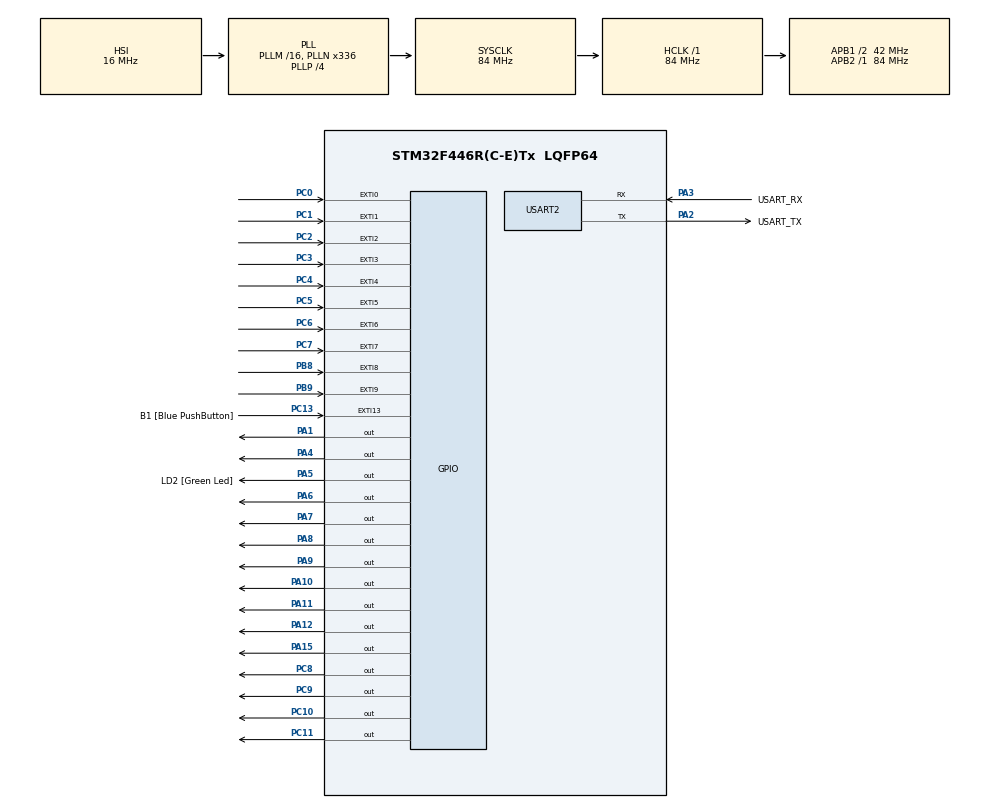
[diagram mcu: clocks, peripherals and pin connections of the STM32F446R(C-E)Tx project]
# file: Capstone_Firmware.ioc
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Mcu.Family=STM32F4
Mcu.Name=STM32F446R(C-E)Tx
Mcu.Package=LQFP64
NVIC.EXTI0_IRQn=true\:0\:0\:false\:false\:true\:true\:true
NVIC.EXTI1_IRQn=true\:0\:0\:false\:false\:true\:true\:true
NVIC.EXTI2_IRQn=true\:0\:0\:false\:false\:true\:true\:true
NVIC.EXTI3_IRQn=true\:0\:0\:false\:false\:true\:true\:true
NVIC.EXTI4_IRQn=true\:0\:0\:false\:false\:true\:true\:true
NVIC.EXTI9_5_IRQn=true\:0\:0\:false\:false\:true\:true\:true
NVIC.PriorityGroup=NVIC_PRIORITYGROUP_0
NVIC.USART2_IRQn=true\:0\:0\:false\:false\:true\:true\:true
PA1.Signal=GPIO_Output
PA10.Signal=GPIO_Output
PA11.Signal=GPIO_Output
PA12.Signal=GPIO_Output
PA13.GPIO_Label=TMS
PA13.Mode=Serial_Wire
PA13.Signal=SYS_JTMS-SWDIO
PA14.GPIO_Label=TCK
PA14.Mode=Serial_Wire
PA14.Signal=SYS_JTCK-SWCLK
PA15.Signal=GPIO_Output
PA2.GPIO_Label=USART_TX
PA2.Mode=Asynchronous
PA2.Signal=USART2_TX
PA3.GPIO_Label=USART_RX
PA3.Mode=Asynchronous
PA3.Signal=USART2_RX
PA4.Signal=GPIO_Output
PA5.GPIO_Label=LD2 [Green Led]
PA5.Signal=GPIO_Output
PA6.Signal=GPIO_Output
PA7.Signal=GPIO_Output
PA8.Signal=GPIO_Output
PA9.Signal=GPIO_Output
PB3.GPIO_Label=SWO
PB3.Signal=SYS_JTDO-SWO
PB8.GPIO_ModeDefaultEXTI=GPIO_MODE_IT_RISING_FALLING
PB8.GPIO_PuPd=GPIO_PULLUP
PB8.Signal=GPXTI8
PB9.GPIO_ModeDefaultEXTI=GPIO_MODE_IT_RISING_FALLING
PB9.GPIO_PuPd=GPIO_PULLUP
PB9.Signal=GPXTI9
PC0.GPIO_ModeDefaultEXTI=GPIO_MODE_IT_RISING_FALLING
PC0.GPIO_PuPd=GPIO_PULLUP
PC0.Signal=GPXTI0
PC1.GPIO_ModeDefaultEXTI=GPIO_MODE_IT_RISING_FALLING
PC1.GPIO_PuPd=GPIO_PULLUP
PC1.Signal=GPXTI1
PC10.GPIO_ModeDefaultOutputPP=GPIO_MODE_OUTPUT_PP
PC10.GPIO_PuPd=GPIO_NOPULL
PC10.Signal=GPIO_Output
PC11.Signal=GPIO_Output
PC13.GPIO_Label=B1 [Blue PushButton]
PC13.GPIO_ModeDefaultEXTI=GPIO_MODE_IT_FALLING
PC13.Signal=GPXTI13
PC14-OSC32_IN.Mode=LSE-External-Oscillator
PC14-OSC32_IN.Signal=RCC_OSC32_IN
PC15-OSC32_OUT.Mode=LSE-External-Oscillator
PC15-OSC32_OUT.Signal=RCC_OSC32_OUT
PC2.GPIO_ModeDefaultEXTI=GPIO_MODE_IT_RISING_FALLING
PC2.GPIO_PuPd=GPIO_PULLUP
PC2.Signal=GPXTI2
PC3.GPIO_ModeDefaultEXTI=GPIO_MODE_IT_RISING_FALLING
PC3.GPIO_PuPd=GPIO_PULLUP
PC3.Signal=GPXTI3
PC4.GPIO_ModeDefaultEXTI=GPIO_MODE_IT_RISING_FALLING
PC4.GPIO_PuPd=GPIO_PULLUP
PC4.Signal=GPXTI4
PC5.GPIO_ModeDefaultEXTI=GPIO_MODE_IT_RISING_FALLING
PC5.GPIO_PuPd=GPIO_PULLUP
PC5.Signal=GPXTI5
PC6.GPIO_ModeDefaultEXTI=GPIO_MODE_IT_RISING_FALLING
PC6.GPIO_PuPd=GPIO_PULLUP
PC6.Signal=GPXTI6
PC7.GPIO_ModeDefaultEXTI=GPIO_MODE_IT_RISING_FALLING
PC7.GPIO_PuPd=GPIO_PULLUP
PC7.Signal=GPXTI7
PC8.Signal=GPIO_Output
PC9.Signal=GPIO_Output
PH0-OSC_IN.Mode=HSE-External-Oscillator
PH0-OSC_IN.Signal=RCC_OSC_IN
PH1-OSC_OUT.Mode=HSE-External-Oscillator
PH1-OSC_OUT.Signal=RCC_OSC_OUT
ProjectManager.HeapSize=0x200
ProjectManager.StackSize=0x400
ProjectManager.TargetToolchain=STM32CubeIDE
RCC.48MHZClocksFreq_Value=84000000
RCC.AHBFreq_Value=84000000
RCC.APB1CLKDivider=RCC_HCLK_DIV2
RCC.APB1Freq_Value=42000000
RCC.APB1TimFreq_Value=84000000
RCC.APB2Freq_Value=84000000
RCC.APB2TimFreq_Value=84000000
RCC.CortexFreq_Value=84000000
RCC.FLatency-AdvancedSettings=FLASH_LATENCY_2
RCC.HCLKFreq_Value=84000000
RCC.HSE_VALUE=8000000
RCC.HSI_VALUE=16000000
RCC.PLLN=336
RCC.PLLP=RCC_PLLP_DIV4
RCC.SYSCLKFreq_VALUE=84000000
RCC.SYSCLKSource=RCC_SYSCLKSOURCE_PLLCLK
RCC.USBFreq_Value=168000000
RCC.VCOOutputFreq_Value=336000000
TIM6.Prescaler=83
USART2.VirtualMode=VM_ASYNC
VP_TIM6_VS_ClockSourceINT.Mode=Enable_Timer
board=NUCLEO-F446RE

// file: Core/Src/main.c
/* USER CODE BEGIN Header */
/**
  ******************************************************************************
  * @file           : main.c
  * @brief          : Main program body
  ******************************************************************************
  * @attention
  *
  * Copyright (c) 2024 STMicroelectronics.
  * All rights reserved.
  *
  * This software is licensed under terms that can be found in the LICENSE file
  * in the root directory of this software component.
  * If no LICENSE file comes with this software, it is provided AS-IS.
  *
  ******************************************************************************
  */
/* USER CODE END Header */
#include "main.h"

/* USER CODE BEGIN Includes */
#include <stdio.h>
#include <stdbool.h>
#include <stdlib.h>
/* USER CODE END Includes */

/* USER CODE BEGIN PD */
#define SPR 2  // Seconds per revolution Microseconds between steps (adjust for speed control)
#define STEP_DELAY 20 //78 -> 1 second per rotation, linear scaling (156 is 2 seconds per rotation)
/* Debounce variables */
#define DEBOUNCE_DELAY 35         // Debounce delay in milliseconds (adjust as needed)
/* USER CODE END PD */

TIM_HandleTypeDef htim6;

UART_HandleTypeDef huart2;

void SystemClock_Config(void);
static void MX_GPIO_Init(void);
static void MX_USART2_UART_Init(void);
static void MX_TIM6_Init(void);

/* USER CODE BEGIN 0 */

typedef enum {
    IDLE,
	MOTOR_ACTUATION,
	RECIEVE_DATA,
	CONFIRM_RECIEVE_DATA,
	TRIGGER_INTERRUPT,
	TRANSMIT_DATA,
	CALIBRATION,
}State;

volatile State state = IDLE;

const uint8_t START_BYTE = 0x24;

//Creates the byte used to confirm if the received bytes are a valid message
uint8_t check = 0;

//RPI will send desired position in the form of steps
typedef struct{
	int z_step;
	int y_step;
	int x_step;
	int rotation_step;
	int nail_step;
	uint8_t nail;
	uint8_t vacuum;
	uint8_t cal;
}position_data;

volatile uint8_t position_data_recieve_buf[sizeof(position_data)];

void HAL_UART_RxCpltCallback(UART_HandleTypeDef *huart){
	if(huart->Instance == USART2){
		if(check == START_BYTE){
			check = 0;
			HAL_UART_Receive(huart, position_data_recieve_buf, sizeof(position_data_recieve_buf), HAL_MAX_DELAY);
			state = RECIEVE_DATA;
		}else {
			state = TRIGGER_INTERRUPT;
		}
	}
}

position_data position_data_recieve;

void unpack_position_data(volatile uint8_t* buffer, position_data* data){
	memcpy(data, buffer, sizeof(position_data));
}

typedef struct{
	  int step;
	  uint8_t run; //purely dependent on the limit switch
}stepper_motor;

 typedef struct{
	  GPIO_TypeDef *direction_port;
	  uint16_t direction_pin;
	  GPIO_TypeDef *step_port;
	  uint16_t step_pin;
	  uint8_t ccw_dir;
	  uint8_t cw_dir;

	  stepper_motor stepper;
 }motor_data;

volatile motor_data motor_z;
volatile motor_data motor_y;
volatile motor_data motor_x;
volatile motor_data motor_r;
volatile motor_data motor_n;

/* Debounce variables */
uint32_t last_interrupt_time = 0; // Timestamp of the last interrupt

void HAL_GPIO_EXTI_Callback(uint16_t GPIO_Pin)
{
	//z motors
    if (GPIO_Pin == GPIO_PIN_6 || GPIO_Pin == GPIO_PIN_0) // Check if the interrupt is from PA6
    {
        uint32_t current_time = HAL_GetTick(); // Get current time in ms
        if ((current_time - last_interrupt_time) > DEBOUNCE_DELAY)
        {
            // Rising edge detected (after debounce)
            last_interrupt_time = current_time;

            motor_z.stepper.run = !motor_z.stepper.run;//HAL_GPIO_ReadPin(GPIOC, GPIO_PIN_6); // Confirms that its pull up? - high until clicked?
//            HAL_GPIO_WritePin(GPIOA, GPIO_PIN_5, motor_z.stepper.run);
            if(motor_z.stepper.run){
            	state = TRANSMIT_DATA;
            }
        }
    } //y motors
    else if (GPIO_Pin == GPIO_PIN_1 || GPIO_Pin == GPIO_PIN_2) // Check if the interrupt is from PA6
	{
		uint32_t current_time = HAL_GetTick(); // Get current time in ms
		if ((current_time - last_interrupt_time) > DEBOUNCE_DELAY)
		{
			// Rising edge detected (after debounce)
			last_interrupt_time = current_time;

			motor_y.stepper.run = !motor_y.stepper.run;//HAL_GPIO_ReadPin(GPIOC, GPIO_PIN_6); // Confirms that its pull up? - high until clicked?
//			HAL_GPIO_WritePin(GPIOA, GPIO_PIN_5, motor_y.stepper.run);
			if(motor_y.stepper.run){
				state = TRANSMIT_DATA;
			}
		}
	}//x motors
    else if (GPIO_Pin == GPIO_PIN_3 || GPIO_Pin == GPIO_PIN_4) // Check if the interrupt is from PA6
	{
		uint32_t current_time = HAL_GetTick(); // Get current time in ms
		if ((current_time - last_interrupt_time) > DEBOUNCE_DELAY)
		{
			// Rising edge detected (after debounce)
			last_interrupt_time = current_time;

			motor_x.stepper.run = !motor_x.stepper.run;//HAL_GPIO_ReadPin(GPIOC, GPIO_PIN_6); // Confirms that its pull up? - high until clicked?
//			HAL_GPIO_WritePin(GPIOA, GPIO_PIN_5, motor_x.stepper.run);
			if(motor_x.stepper.run){
				state = TRANSMIT_DATA;
			}
		}
	}//r motors
    else if (GPIO_Pin == GPIO_PIN_5 || GPIO_Pin == GPIO_PIN_7) // Check if the interrupt is from PA6
	{
		uint32_t current_time = HAL_GetTick(); // Get current time in ms
		if ((current_time - last_interrupt_time) > DEBOUNCE_DELAY)
		{
			// Rising edge detected (after debounce)
			last_interrupt_time = current_time;

			motor_r.stepper.run = !motor_r.stepper.run;//HAL_GPIO_ReadPin(GPIOC, GPIO_PIN_6); // Confirms that its pull up? - high until clicked?
//			HAL_GPIO_WritePin(GPIOA, GPIO_PIN_5, motor_r.stepper.run);
			if(motor_r.stepper.run){
				state = TRANSMIT_DATA;
			}
		}
	}//n motor
    else if (GPIO_Pin == GPIO_PIN_8 || GPIO_Pin == GPIO_PIN_9) // Check if the interrupt is from PA6
	{
		uint32_t current_time = HAL_GetTick(); // Get current time in ms
		if ((current_time - last_interrupt_time) > DEBOUNCE_DELAY)
		{
			// Rising edge detected (after debounce)
			last_interrupt_time = current_time;

			motor_n.stepper.run = !motor_n.stepper.run;//HAL_GPIO_ReadPin(GPIOC, GPIO_PIN_6); // Confirms that its pull up? - high until clicked?
//			HAL_GPIO_WritePin(GPIOA, GPIO_PIN_5, motor_r.stepper.run);
			if(motor_n.stepper.run){
				state = TRANSMIT_DATA;
			}
		}
	}
}

void delayMicroseconds(uint16_t us) {
    // Reset the timer counter
    __HAL_TIM_SET_COUNTER(&htim6, 0);
    // Start the timer
    HAL_TIM_Base_Start(&htim6);

    // Wait until the timer counter reaches the desired delay in microseconds
    while (__HAL_TIM_GET_COUNTER(&htim6) < us);

    // Stop the timer after the delay is completed
    HAL_TIM_Base_Stop(&htim6);
}

void stepper_move_steps(motor_data* motor, uint32_t steps, uint8_t direction) { // CW - 1, CCW - 0

    if(direction){
		HAL_GPIO_WritePin(motor->direction_port, motor->direction_pin, motor->cw_dir);
    }else{
    	HAL_GPIO_WritePin(motor->direction_port, motor->direction_pin, motor->ccw_dir);
    }

    for (int i = 0; i < steps && motor->stepper.run; i++) {
    	if(direction){
    		motor->stepper.step++;
    	}else{
    		motor->stepper.step--;
    	}
    	// Generate a step pulse
        HAL_GPIO_WritePin(motor->step_port, motor->step_pin, 1);   // Set PA1 high
//        delayMicroseconds((SPR*1000000 / (steps*2)));                // Short delay (half of STEP_DELAY)
        delayMicroseconds(STEP_DELAY);

        HAL_GPIO_WritePin(motor->step_port, motor->step_pin, 0); // Set PA1 low
//        delayMicroseconds((SPR*1000000 / (steps*2)));                 // Short delay (half of STEP_DELAY)
        delayMicroseconds(STEP_DELAY);
    }

    if(!motor->stepper.run){
    	direction = !direction;

        if(direction){
    		HAL_GPIO_WritePin(motor->direction_port, motor->direction_pin, motor->cw_dir);
        }else{
        	HAL_GPIO_WritePin(motor->direction_port, motor->direction_pin, motor->ccw_dir);
        }

        while(!motor->stepper.run) {
        	if(direction){
        		motor->stepper.step++;
        	}else{
        		motor->stepper.step--;
        	}
        	// Generate a step pulse
            HAL_GPIO_WritePin(motor->step_port, motor->step_pin, 1);   // Set PA1 high
    //        delayMicroseconds((SPR*1000000 / (steps*2)));                // Short delay (half of STEP_DELAY)
            delayMicroseconds(STEP_DELAY);

            HAL_GPIO_WritePin(motor->step_port, motor->step_pin, 0); // Set PA1 low
    //        delayMicroseconds((SPR*1000000 / (steps*2)));                 // Short delay (half of STEP_DELAY)
            delayMicroseconds(STEP_DELAY);
        }
    }
}

/* USER CODE END 0 */

int main(void)
{

  /* MCU Configuration--------------------------------------------------------*/

  /* Reset of all peripherals, Initializes the Flash interface and the Systick. */
  HAL_Init();

  /* Configure the system clock */
  SystemClock_Config();

  /* Initialize all configured peripherals */
  MX_GPIO_Init();
  MX_USART2_UART_Init();
  MX_TIM6_Init();
  /* USER CODE BEGIN 2 */

  //init
  motor_z.direction_port = GPIOA;
  motor_z.direction_pin = GPIO_PIN_4;
  motor_z.step_port = GPIOA;
  motor_z.step_pin = GPIO_PIN_1;
  motor_z.cw_dir = 1;
  motor_z.ccw_dir = 0;
  motor_z.stepper.run = HAL_GPIO_ReadPin(GPIOC, GPIO_PIN_6) && HAL_GPIO_ReadPin(GPIOC, GPIO_PIN_0);

  motor_y.direction_port = GPIOA;
  motor_y.direction_pin = GPIO_PIN_7;
  motor_y.step_port = GPIOA;
  motor_y.step_pin = GPIO_PIN_6;
  motor_y.cw_dir = 1;
  motor_y.ccw_dir = 0;
  motor_y.stepper.run = HAL_GPIO_ReadPin(GPIOC, GPIO_PIN_1) && HAL_GPIO_ReadPin(GPIOC, GPIO_PIN_2);

  motor_x.direction_port = GPIOA;
  motor_x.direction_pin = GPIO_PIN_9;
  motor_x.step_port = GPIOA;
  motor_x.step_pin = GPIO_PIN_8;
  motor_x.cw_dir = 1;
  motor_x.ccw_dir = 0;
  motor_x.stepper.run = HAL_GPIO_ReadPin(GPIOC, GPIO_PIN_3) && HAL_GPIO_ReadPin(GPIOC, GPIO_PIN_4);

  motor_r.direction_port = GPIOA;
  motor_r.direction_pin = GPIO_PIN_11;
  motor_r.step_port = GPIOA;
  motor_r.step_pin = GPIO_PIN_10;
  motor_r.cw_dir = 1;
  motor_r.ccw_dir = 0;
  motor_r.stepper.run = HAL_GPIO_ReadPin(GPIOC, GPIO_PIN_5) && HAL_GPIO_ReadPin(GPIOC, GPIO_PIN_7);

  motor_n.direction_port = GPIOC;
  motor_n.direction_pin = GPIO_PIN_10;
  motor_n.step_port = GPIOC;
  motor_n.step_pin = GPIO_PIN_9;
  motor_n.cw_dir = 1;
  motor_n.ccw_dir = 0;
  motor_n.stepper.run = HAL_GPIO_ReadPin(GPIOB, GPIO_PIN_8) && HAL_GPIO_ReadPin(GPIOB, GPIO_PIN_9);

  HAL_GPIO_WritePin(GPIOA, GPIO_PIN_5, HAL_GPIO_ReadPin(GPIOC, GPIO_PIN_6));

  uint32_t target_steps = 0;
  uint8_t dir = 0;

  uint8_t motor_data_transmit[5*sizeof(stepper_motor)];  // Array to hold `step` and `run`

//  stepper_move_steps(&motor_1, target_steps, motor_1.cw); // Move the motor by target_steps steps

//  HAL_Delay(1000);  // Wait for 1 second

//  Stepper_SetDirection(0);   // Set direction to counterclockwise (0)
//  stepper_move_steps(&motor_1, target_steps, motor_1.ccw); // Move the motor by target_steps steps

  /* USER CODE END 2 */

  /* Infinite loop */
  while (1)
  {

    /* USER CODE BEGIN 3 */
//	  HAL_GPIO_WritePin(GPIOA, GPIO_PIN_5, HAL_GPIO_ReadPin(GPIOA, GPIO_PIN_6));
	  switch(state){
		  case IDLE:
			  state = TRIGGER_INTERRUPT;
//			  if(HAL_GPIO_ReadPin(GPIOC, GPIO_PIN_13) != 1){
//				  state = CALIBRATION;
//				  while(HAL_GPIO_ReadPin(GPIOC, GPIO_PIN_13) != 1){
//
//				  }
//			  }
			  break;
		  case CALIBRATION:
			  HAL_GPIO_WritePin(GPIOC, GPIO_PIN_11, 0); // vacuum

			  HAL_GPIO_WritePin(GPIOA, GPIO_PIN_12, 0); // nailgun
			  HAL_GPIO_WritePin(GPIOA, GPIO_PIN_15, 0);

			  stepper_move_steps(&motor_z, UINT32_MAX, 0);
			  stepper_move_steps(&motor_y, UINT32_MAX, 0);
			  stepper_move_steps(&motor_x, UINT32_MAX, 0);
			  stepper_move_steps(&motor_r, UINT32_MAX, 0);
			  stepper_move_steps(&motor_n, UINT32_MAX, 0);

			  motor_z.stepper.step = 0;
			  motor_y.stepper.step = 0;
			  motor_x.stepper.step = 0;
			  motor_z.stepper.step = 0;
			  motor_r.stepper.step = 0;
			  motor_n.stepper.step = 0;

			  state = TRANSMIT_DATA;
//			  if(HAL_GPIO_ReadPin(GPIOC, GPIO_PIN_13) != 1){
//				  state = TRIGGER_INTERRUPT;
//				  while(HAL_GPIO_ReadPin(GPIOC, GPIO_PIN_13) != 1){
//
//				  }
//				  stepper_move_steps(&motor_z, UINT32_MAX, 0);
//				  stepper_move_steps(&motor_y, UINT32_MAX, 0);
//				  stepper_move_steps(&motor_x, UINT32_MAX, 0);
//
//				  motor_z.stepper.step = 0;
//				  motor_y.stepper.step = 0;
//				  motor_x.stepper.step = 0;
//			  }
			  break;
		  case TRIGGER_INTERRUPT:
			  //Will not queue interrupts
			  HAL_UART_Receive_IT(&huart2, &check, 1);
			  break;
		  case RECIEVE_DATA:
			  unpack_position_data(position_data_recieve_buf, &position_data_recieve);
			  state = CONFIRM_RECIEVE_DATA;
			  break;
		  case CONFIRM_RECIEVE_DATA:
//			  HAL_UART_Transmit(&huart2, (uint8_t*)&START_BYTE, sizeof(START_BYTE), HAL_MAX_DELAY);
//			  HAL_UART_Transmit(&huart2, (uint8_t*)&position_data_recieve, sizeof(position_data_recieve), HAL_MAX_DELAY);
			  state = MOTOR_ACTUATION;
			  break;
		  case TRANSMIT_DATA:
//			  HAL_UART_Transmit(&huart2, (uint8_t*)&START_BYTE, sizeof(START_BYTE), HAL_MAX_DELAY);
//  			  HAL_UART_Transmit(&huart2, (uint8_t*)&motor_x, sizeof(motor_x), HAL_MAX_DELAY);

			  // Populate the array
			  memcpy(motor_data_transmit, &motor_z.stepper, sizeof(stepper_motor));
			  memcpy(motor_data_transmit + sizeof(stepper_motor), &motor_y.stepper, sizeof(stepper_motor));
			  memcpy(motor_data_transmit + 2*sizeof(stepper_motor), &motor_x.stepper, sizeof(stepper_motor));
			  memcpy(motor_data_transmit + 3*sizeof(stepper_motor), &motor_r.stepper, sizeof(stepper_motor));
			  memcpy(motor_data_transmit + 4*sizeof(stepper_motor), &motor_n.stepper, sizeof(stepper_motor));

			  // Transmit the array
			  HAL_UART_Transmit(&huart2, motor_data_transmit, sizeof(motor_data_transmit), HAL_MAX_DELAY);
			  state = TRIGGER_INTERRUPT;
			  break;
		  case MOTOR_ACTUATION:
			  if(position_data_recieve.cal){
				  state = CALIBRATION;
			  }else {
//				  target_steps = abs(position_data_recieve.z_step- motor_z.stepper.step); //make this position specific
//				  if(target_steps > 0){
//					  if (position_data_recieve.z_step - motor_z.stepper.step > 0) {
//						  dir = 1;  // Positive direction
//					  }else {
//						  dir = 0;  // Negative direction
//					  }
//					  stepper_move_steps(&motor_z, target_steps, dir);
//				  }

				  target_steps = abs(position_data_recieve.y_step- motor_y.stepper.step); //make this position specific
				  if(target_steps > 0){
					  if (position_data_recieve.y_step - motor_y.stepper.step > 0) {
						  dir = 1;  // Positive direction
					  }else {
						  dir = 0;  // Negative direction
					  }
					  stepper_move_steps(&motor_y, target_steps, dir);
				  }

				  target_steps = abs(position_data_recieve.x_step- motor_x.stepper.step); //make this position specific
				  if(target_steps > 0){
					  if (position_data_recieve.x_step - motor_x.stepper.step > 0) {
						  dir = 1;  // Positive direction
					  }else {
						  dir = 0;  // Negative direction
					  }
					  stepper_move_steps(&motor_x, target_steps, dir);
				  }

				  target_steps = abs(position_data_recieve.z_step- motor_z.stepper.step); //make this position specific
				  if(target_steps > 0){
					  if (position_data_recieve.z_step - motor_z.stepper.step > 0) {
						  dir = 1;  // Positive direction
					  }else {
						  dir = 0;  // Negative direction
					  }
					  stepper_move_steps(&motor_z, target_steps, dir);
				  }

				  target_steps = abs(position_data_recieve.rotation_step- motor_r.stepper.step); //make this position specific
				  if(target_steps > 0){
					  if (position_data_recieve.rotation_step - motor_r.stepper.step > 0) {
						  dir = 1;  // Positive direction
					  }else {
						  dir = 0;  // Negative direction
					  }
					  stepper_move_steps(&motor_r, target_steps, dir);
				  }

				  target_steps = abs(position_data_recieve.nail_step- motor_n.stepper.step); //make this position specific
				  if(target_steps > 0){
					  if (position_data_recieve.nail_step - motor_n.stepper.step > 0) {
						  dir = 1;  // Positive direction
					  }else {
						  dir = 0;  // Negative direction
					  }
					  stepper_move_steps(&motor_n, target_steps, dir);
				  }

				  //Vacuume switch
				  if(position_data_recieve.vacuum){
					  HAL_GPIO_WritePin(GPIOC, GPIO_PIN_11, 1);
				  }else{
					  HAL_GPIO_WritePin(GPIOC, GPIO_PIN_11, 0);
				  }

				  if(position_data_recieve.nail){
					  HAL_GPIO_WritePin(GPIOA, GPIO_PIN_12, 1);
					  HAL_GPIO_WritePin(GPIOA, GPIO_PIN_15, 0);
				  }else{
					  HAL_GPIO_WritePin(GPIOA, GPIO_PIN_12, 0);
					  HAL_GPIO_WritePin(GPIOA, GPIO_PIN_15, 0);
				  }
				  state = TRANSMIT_DATA;
			  }
			  break;
	  }

  }
  /* USER CODE END 3 */
}

void SystemClock_Config(void)
{
  RCC_OscInitTypeDef RCC_OscInitStruct = {0};
  RCC_ClkInitTypeDef RCC_ClkInitStruct = {0};

  /** Configure the main internal regulator output voltage
  */
  __HAL_RCC_PWR_CLK_ENABLE();
  __HAL_PWR_VOLTAGESCALING_CONFIG(PWR_REGULATOR_VOLTAGE_SCALE3);
  /** Initializes the RCC Oscillators according to the specified parameters
  * in the RCC_OscInitTypeDef structure.
  */
  RCC_OscInitStruct.OscillatorType = RCC_OSCILLATORTYPE_HSI;
  RCC_OscInitStruct.HSIState = RCC_HSI_ON;
  RCC_OscInitStruct.HSICalibrationValue = RCC_HSICALIBRATION_DEFAULT;
  RCC_OscInitStruct.PLL.PLLState = RCC_PLL_ON;
  RCC_OscInitStruct.PLL.PLLSource = RCC_PLLSOURCE_HSI;
  RCC_OscInitStruct.PLL.PLLM = 16;
  RCC_OscInitStruct.PLL.PLLN = 336;
  RCC_OscInitStruct.PLL.PLLP = RCC_PLLP_DIV4;
  RCC_OscInitStruct.PLL.PLLQ = 2;
  RCC_OscInitStruct.PLL.PLLR = 2;
  if (HAL_RCC_OscConfig(&RCC_OscInitStruct) != HAL_OK)
  {
    Error_Handler();
  }
  /** Initializes the CPU, AHB and APB buses clocks
  */
  RCC_ClkInitStruct.ClockType = RCC_CLOCKTYPE_HCLK|RCC_CLOCKTYPE_SYSCLK
                              |RCC_CLOCKTYPE_PCLK1|RCC_CLOCKTYPE_PCLK2;
  RCC_ClkInitStruct.SYSCLKSource = RCC_SYSCLKSOURCE_PLLCLK;
  RCC_ClkInitStruct.AHBCLKDivider = RCC_SYSCLK_DIV1;
  RCC_ClkInitStruct.APB1CLKDivider = RCC_HCLK_DIV2;
  RCC_ClkInitStruct.APB2CLKDivider = RCC_HCLK_DIV1;

  if (HAL_RCC_ClockConfig(&RCC_ClkInitStruct, FLASH_LATENCY_2) != HAL_OK)
  {
    Error_Handler();
  }
}

static void MX_TIM6_Init(void)
{

  TIM_MasterConfigTypeDef sMasterConfig = {0};

  htim6.Instance = TIM6;
  htim6.Init.Prescaler = 83;
  htim6.Init.CounterMode = TIM_COUNTERMODE_UP;
  htim6.Init.Period = 65535;
  htim6.Init.AutoReloadPreload = TIM_AUTORELOAD_PRELOAD_DISABLE;
  if (HAL_TIM_Base_Init(&htim6) != HAL_OK)
  {
    Error_Handler();
  }
  sMasterConfig.MasterOutputTrigger = TIM_TRGO_RESET;
  sMasterConfig.MasterSlaveMode = TIM_MASTERSLAVEMODE_DISABLE;
  if (HAL_TIMEx_MasterConfigSynchronization(&htim6, &sMasterConfig) != HAL_OK)
  {
    Error_Handler();
  }

}

static void MX_USART2_UART_Init(void)
{

  huart2.Instance = USART2;
  huart2.Init.BaudRate = 115200;
  huart2.Init.WordLength = UART_WORDLENGTH_8B;
  huart2.Init.StopBits = UART_STOPBITS_1;
  huart2.Init.Parity = UART_PARITY_NONE;
  huart2.Init.Mode = UART_MODE_TX_RX;
  huart2.Init.HwFlowCtl = UART_HWCONTROL_NONE;
  huart2.Init.OverSampling = UART_OVERSAMPLING_16;
  if (HAL_UART_Init(&huart2) != HAL_OK)
  {
    Error_Handler();
  }

}

static void MX_GPIO_Init(void)
{
  GPIO_InitTypeDef GPIO_InitStruct = {0};

  /* GPIO Ports Clock Enable */
  __HAL_RCC_GPIOC_CLK_ENABLE();
  __HAL_RCC_GPIOH_CLK_ENABLE();
  __HAL_RCC_GPIOA_CLK_ENABLE();
  __HAL_RCC_GPIOB_CLK_ENABLE();

  /*Configure GPIO pin Output Level */
  HAL_GPIO_WritePin(GPIOA, GPIO_PIN_1|GPIO_PIN_4|LD2_Pin|GPIO_PIN_6
                          |GPIO_PIN_7|GPIO_PIN_8|GPIO_PIN_9|GPIO_PIN_10
                          |GPIO_PIN_11|GPIO_PIN_12|GPIO_PIN_15, GPIO_PIN_RESET);

  /*Configure GPIO pin Output Level */
  HAL_GPIO_WritePin(GPIOC, GPIO_PIN_8|GPIO_PIN_9|GPIO_PIN_10|GPIO_PIN_11, GPIO_PIN_RESET);

  /*Configure GPIO pin : B1_Pin */
  GPIO_InitStruct.Pin = B1_Pin;
  GPIO_InitStruct.Mode = GPIO_MODE_IT_FALLING;
  GPIO_InitStruct.Pull = GPIO_NOPULL;
  HAL_GPIO_Init(B1_GPIO_Port, &GPIO_InitStruct);

  /*Configure GPIO pins : PC0 PC1 PC2 PC3
                           PC4 PC5 PC6 PC7 */
  GPIO_InitStruct.Pin = GPIO_PIN_0|GPIO_PIN_1|GPIO_PIN_2|GPIO_PIN_3
                          |GPIO_PIN_4|GPIO_PIN_5|GPIO_PIN_6|GPIO_PIN_7;
  GPIO_InitStruct.Mode = GPIO_MODE_IT_RISING_FALLING;
  GPIO_InitStruct.Pull = GPIO_PULLUP;
  HAL_GPIO_Init(GPIOC, &GPIO_InitStruct);

  /*Configure GPIO pins : PA1 PA4 LD2_Pin PA6
                           PA7 PA8 PA9 PA10
                           PA11 PA12 PA15 */
  GPIO_InitStruct.Pin = GPIO_PIN_1|GPIO_PIN_4|LD2_Pin|GPIO_PIN_6
                          |GPIO_PIN_7|GPIO_PIN_8|GPIO_PIN_9|GPIO_PIN_10
                          |GPIO_PIN_11|GPIO_PIN_12|GPIO_PIN_15;
  GPIO_InitStruct.Mode = GPIO_MODE_OUTPUT_PP;
  GPIO_InitStruct.Pull = GPIO_NOPULL;
  GPIO_InitStruct.Speed = GPIO_SPEED_FREQ_LOW;
  HAL_GPIO_Init(GPIOA, &GPIO_InitStruct);

  /*Configure GPIO pins : PC8 PC9 PC10 PC11 */
  GPIO_InitStruct.Pin = GPIO_PIN_8|GPIO_PIN_9|GPIO_PIN_10|GPIO_PIN_11;
  GPIO_InitStruct.Mode = GPIO_MODE_OUTPUT_PP;
  GPIO_InitStruct.Pull = GPIO_NOPULL;
  GPIO_InitStruct.Speed = GPIO_SPEED_FREQ_LOW;
  HAL_GPIO_Init(GPIOC, &GPIO_InitStruct);

  /*Configure GPIO pins : PB8 PB9 */
  GPIO_InitStruct.Pin = GPIO_PIN_8|GPIO_PIN_9;
  GPIO_InitStruct.Mode = GPIO_MODE_IT_RISING_FALLING;
  GPIO_InitStruct.Pull = GPIO_PULLUP;
  HAL_GPIO_Init(GPIOB, &GPIO_InitStruct);

  /* EXTI interrupt init*/
  HAL_NVIC_SetPriority(EXTI0_IRQn, 0, 0);
  HAL_NVIC_EnableIRQ(EXTI0_IRQn);

  HAL_NVIC_SetPriority(EXTI1_IRQn, 0, 0);
  HAL_NVIC_EnableIRQ(EXTI1_IRQn);

  HAL_NVIC_SetPriority(EXTI2_IRQn, 0, 0);
  HAL_NVIC_EnableIRQ(EXTI2_IRQn);

  HAL_NVIC_SetPriority(EXTI3_IRQn, 0, 0);
  HAL_NVIC_EnableIRQ(EXTI3_IRQn);

  HAL_NVIC_SetPriority(EXTI4_IRQn, 0, 0);
  HAL_NVIC_EnableIRQ(EXTI4_IRQn);

  HAL_NVIC_SetPriority(EXTI9_5_IRQn, 0, 0);
  HAL_NVIC_EnableIRQ(EXTI9_5_IRQn);

}

void Error_Handler(void)
{
  __disable_irq();
  while (1)
  {
  }
}
